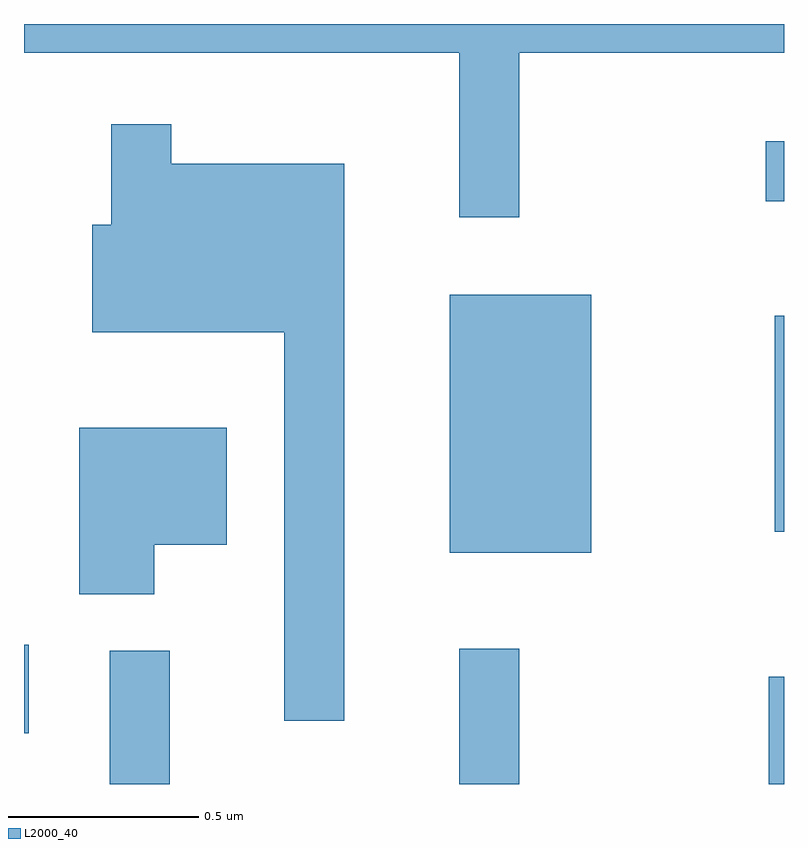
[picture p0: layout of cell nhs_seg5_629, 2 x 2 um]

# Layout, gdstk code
import gdstk
lib = gdstk.Library(unit=1e-6, precision=1e-09)
def R(c, l, rs):  # rectangles x0, y0, x1, y1
    for r in rs: c.add(gdstk.rectangle(r[:2], r[2:], *l))
def P(c, l, *ps):  # polygons
    for p in ps: c.add(gdstk.Polygon(p, *l))
L2000_40 = (2000, 40)

nhs_seg5_629 = lib.new_cell('nhs_seg5_629')
R(nhs_seg5_629, L2000_40, [(189.836,1477.072,189.994,1477.423), (190.756,1477.072,190.914,1477.428), (191.571,1477.072,191.611,1477.354), (189.611,1477.206,189.624,1477.439), (190.731,1477.681,191.104,1478.359), (191.586,1477.736,191.611,1478.304), (191.563,1478.606,191.611,1478.764)])
P(nhs_seg5_629, L2000_40, [(190.914,1478.996),(191.611,1478.996),(191.611,1479.072),(189.611,1479.072),(189.611,1478.996),(190.756,1478.996),(190.756,1478.563),(190.914,1478.563)],
  [(190.454,1478.704),(189.999,1478.704),(189.999,1478.808),(189.841,1478.808),(189.841,1478.544),(189.791,1478.544),(189.791,1478.261),(190.296,1478.261),(190.296,1477.238),(190.454,1477.238)],
  [(189.954,1477.701),(190.144,1477.701),(190.144,1478.009),(189.756,1478.009),(189.756,1477.571),(189.954,1477.571)])

lib.write_gds('nhs_seg5_629.gds')
